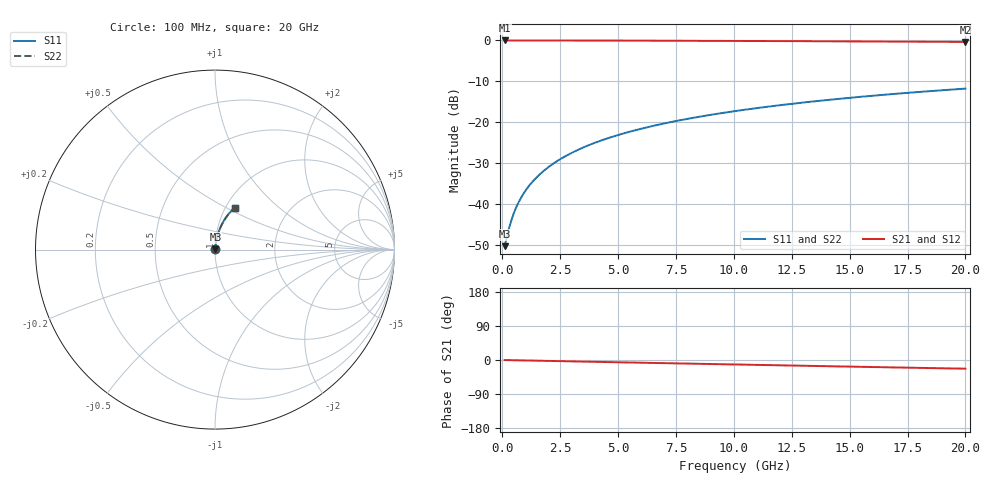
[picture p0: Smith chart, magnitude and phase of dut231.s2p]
! Touchstone file exported from HFSS 2026.1.0
!  File:  C:/ffzhzh/LocalFiles/Ansys_Project_Files/temp_train_TMRDL_231_1782984502_6248.aedt
!  Generated:  05:29:32 PM Jul  2, 2026
!  Design:  TMRDL
!  Project:  temp_train_TMRDL_231_1782984502_6248
! Variables:
!  h_bsmrdl = 2um
!  h_ox = 20um
!  h_rdl = 5um
!  h_sub = 80um
!  h_tmrdl = 3.92um
!  h_tsv = 80um
!  h_via = 3um
!  l_bsmrdl = 300um
!  l_sub = 694.95um
!  l_tmrdl = 294.95um
!  m_sub = 200um
!  pitch = 33.43um
!  r_tsv = 6um
!  s_tmrdl = 10um
!  w_bsmrdl = 18um
!  w_sub = 500um
!  w_tmrdl = 10.21um
!  x_tsv_center1 = 300.055um
!  x_tsv_center2 = 618.055um
!  x_tsv_center3 = 923.215um
!  x_tsv_center4 = 1241.215um
!  x_tsv_center5 = 1546.375um
!  x_tsv_center6 = 1864.375um
# GHz S MA R 50.000000
! Terminal data exported
! Port[1] = TM_RDL1_1_T1
! Port[2] = TM_RDL1_1_T2
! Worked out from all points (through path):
!   200 points, 100 MHz to 20 GHz, reference 50 ohm
!   highest |S21| = -0.02 dB at 100 MHz (marker M1); lowest = -0.4 dB at 20 GHz (marker M2)
!   group delay of S21, straight-line fit = 3.19 ps
!   lowest |S11| = -50.2 dB at 100 MHz (marker M3), VSWR 1.01, Z = 50.3 + j0.148 ohm
!   |S11| at or under -10 dB: start of sweep to end of sweep
!   |S22| runs from -50.2 to -11.8 dB; largest |S21 - S12| = 2.7e-15
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0.1  0.003078 28.6  0.9973 -0.1  0.9973 -0.1  0.003078 28.6
! Gamma 0 0 0 0
! Port Impedance 50 0 50 0
0.3  0.005201 57.4  0.9972 -0.4  0.9972 -0.4  0.005201 57.4
0.4  0.006485 63.8  0.9972 -0.5  0.9972 -0.5  0.006485 63.8
0.5  0.007812 67.9  0.9971 -0.6  0.9971 -0.6  0.007811 67.9
0.6  0.009159 70.7  0.9971 -0.7  0.9971 -0.7  0.009158 70.7
0.7  0.01052 72.9  0.997 -0.9  0.997 -0.9  0.01052 72.9
0.9  0.01325 75.7  0.9969 -1.1  0.9969 -1.1  0.01325 75.7
1.2  0.01739 78.3  0.9968 -1.5  0.9968 -1.5  0.01739 78.3
1.4  0.02015 79.3  0.9967 -1.7  0.9967 -1.7  0.02015 79.3
1.7  0.02432 80.3  0.9965 -2.1  0.9965 -2.1  0.02432 80.3
2.2  0.03127 81.2  0.9962 -2.7  0.9962 -2.7  0.03127 81.2
2.8  0.03962 81.5  0.9957 -3.4  0.9957 -3.4  0.03962 81.6
3.5  0.04932 81.5  0.9951 -4.2  0.9951 -4.2  0.04932 81.5
4.2  0.05898 81.1  0.9943 -5.0  0.9943 -5.0  0.05898 81.1
5  0.06994 80.5  0.9933 -6.0  0.9933 -6.0  0.06994 80.5
5.9  0.08216 79.7  0.992 -7.1  0.992 -7.1  0.08216 79.7
6.8  0.09427 78.8  0.9905 -8.1  0.9905 -8.1  0.09427 78.8
8.3  0.1142 77.3  0.9878 -9.9  0.9878 -9.9  0.1142 77.3
10.1  0.1376 75.4  0.9841 -11.9  0.9841 -11.9  0.1376 75.4
13.4  0.1793 71.9  0.9763 -15.7  0.9763 -15.7  0.1793 71.9
16.7  0.2194 68.4  0.9672 -19.3  0.9672 -19.3  0.2194 68.5
20  0.2577 65.0  0.9571 -22.9  0.9571 -22.9  0.2577 65.0
